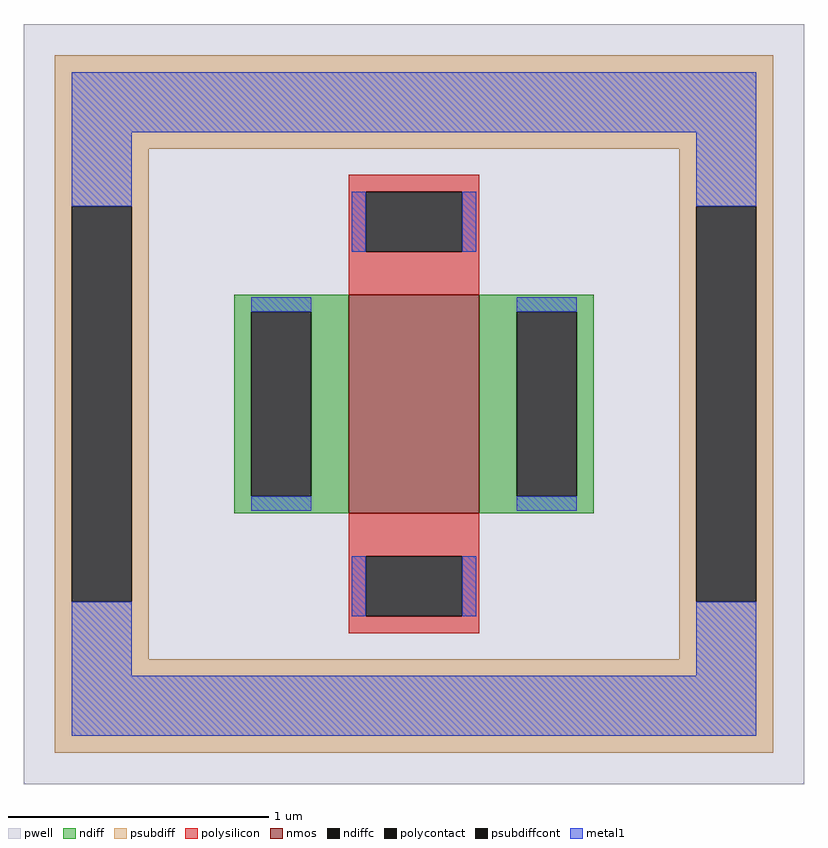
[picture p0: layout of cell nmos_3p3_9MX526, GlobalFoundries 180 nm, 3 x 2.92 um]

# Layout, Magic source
magic
tech gf180mcuC
magscale 1 10
<< pwell >>
rect -300 -292 300 292
<< nmos >>
rect -50 -84 50 84
<< ndiff >>
rect -138 71 -50 84
rect -138 -71 -125 71
rect -79 -71 -50 71
rect -138 -84 -50 -71
rect 50 71 138 84
rect 50 -71 79 71
rect 125 -71 138 71
rect 50 -84 138 -71
<< ndiffc >>
rect -125 -71 -79 71
rect 79 -71 125 71
<< psubdiff >>
rect -276 196 276 268
rect -276 152 -204 196
rect -276 -152 -263 152
rect -217 -152 -204 152
rect 204 152 276 196
rect -276 -196 -204 -152
rect 204 -152 217 152
rect 263 -152 276 152
rect 204 -196 276 -152
rect -276 -268 276 -196
<< psubdiffcont >>
rect -263 -152 -217 152
rect 217 -152 263 152
<< polysilicon >>
rect -50 163 50 176
rect -50 117 -37 163
rect 37 117 50 163
rect -50 84 50 117
rect -50 -117 50 -84
rect -50 -163 -37 -117
rect 37 -163 50 -117
rect -50 -176 50 -163
<< polycontact >>
rect -37 117 37 163
rect -37 -163 37 -117
<< metal1 >>
rect -263 209 263 255
rect -263 152 -217 209
rect -48 117 -37 163
rect 37 117 48 163
rect 217 152 263 209
rect -125 71 -79 82
rect -125 -82 -79 -71
rect 79 71 125 82
rect 79 -82 125 -71
rect -263 -209 -217 -152
rect -48 -163 -37 -117
rect 37 -163 48 -117
rect 217 -209 263 -152
rect -263 -255 263 -209
<< properties >>
string FIXED_BBOX -240 -232 240 232
string gencell nmos_3p3
string library gf180mcu
string parameters w 0.84 l 0.5 m 1 nf 1 diffcov 100 polycov 100 guard 1 glc 1 grc 1 gtc 0 gbc 0 tbcov 100 rlcov 100 topc 1 botc 1 poverlap 0 doverlap 1 lmin 0.28 wmin 0.22 full_metal 1 compatible {nmos_3p3 nmos_6p0 nmos_6p0_nat}
<< end >>
